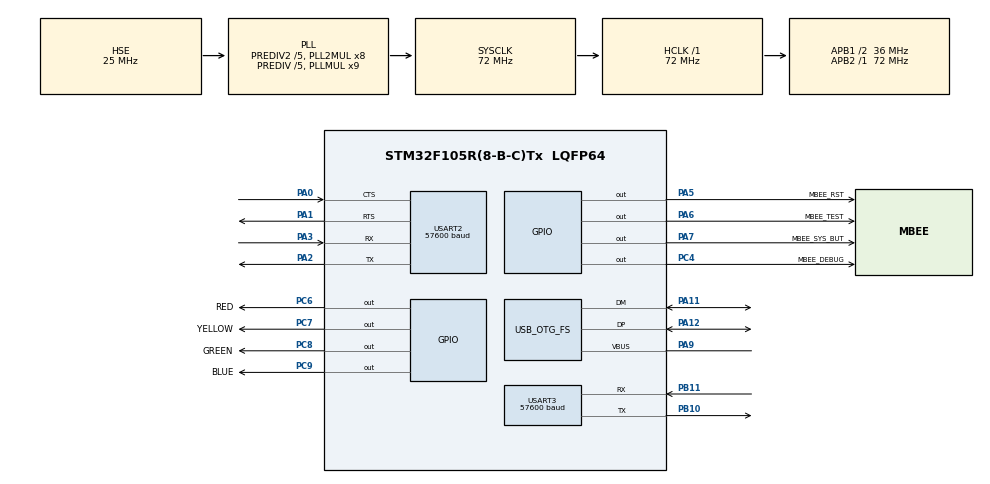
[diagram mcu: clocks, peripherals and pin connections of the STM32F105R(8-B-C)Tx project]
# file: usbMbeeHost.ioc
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Mcu.Family=STM32F1
Mcu.Name=STM32F105R(8-B-C)Tx
Mcu.Package=LQFP64
NVIC.OTG_FS_IRQn=true\:0\:0\:false\:false\:true\:true\:true
NVIC.PriorityGroup=NVIC_PRIORITYGROUP_4
NVIC.RCC_IRQn=true\:0\:0\:false\:false\:true\:true\:false
NVIC.USART2_IRQn=true\:0\:0\:true\:false\:true\:true\:true
NVIC.USART3_IRQn=true\:0\:0\:true\:false\:true\:true\:true
PA0-WKUP.Mode=CTS_RTS
PA0-WKUP.Signal=USART2_CTS
PA1.Mode=CTS_RTS
PA1.Signal=USART2_RTS
PA11.Mode=Host_Only
PA11.Signal=USB_OTG_FS_DM
PA12.Mode=Host_Only
PA12.Signal=USB_OTG_FS_DP
PA13.Mode=Serial_Wire
PA13.Signal=SYS_JTMS-SWDIO
PA14.Mode=Serial_Wire
PA14.Signal=SYS_JTCK-SWCLK
PA2.Mode=Asynchronous
PA2.Signal=USART2_TX
PA3.Mode=Asynchronous
PA3.Signal=USART2_RX
PA5.GPIO_Label=MBEE_RST
PA5.Signal=GPIO_Output
PA6.GPIO_Label=MBEE_TEST
PA6.Signal=GPIO_Output
PA7.GPIO_Label=MBEE_SYS_BUT
PA7.Signal=GPIO_Output
PA9.Mode=Activate_VBUS
PA9.Signal=USB_OTG_FS_VBUS
PB10.Mode=Asynchronous
PB10.Signal=USART3_TX
PB11.Mode=Asynchronous
PB11.Signal=USART3_RX
PC4.GPIO_Label=MBEE_DEBUG
PC4.Signal=GPIO_Output
PC6.GPIO_Label=RED
PC6.Signal=GPIO_Output
PC7.GPIO_Label=YELLOW
PC7.Signal=GPIO_Output
PC8.GPIO_Label=GREEN
PC8.Signal=GPIO_Output
PC9.GPIO_Label=BLUE
PC9.Signal=GPIO_Output
PD0-OSC_IN.Mode=HSE-External-Oscillator
PD0-OSC_IN.Signal=RCC_OSC_IN
PD1-OSC_OUT.Mode=HSE-External-Oscillator
PD1-OSC_OUT.Signal=RCC_OSC_OUT
ProjectManager.HeapSize=0x1000
ProjectManager.StackSize=0x400
ProjectManager.TargetToolchain=SW4STM32
RCC.AHBFreq_Value=72000000
RCC.APB1CLKDivider=RCC_HCLK_DIV2
RCC.APB1Freq_Value=36000000
RCC.APB1TimFreq_Value=72000000
RCC.APB2Freq_Value=72000000
RCC.APB2TimFreq_Value=72000000
RCC.HCLKFreq_Value=72000000
RCC.HSEDivPLL=RCC_HSE_PREDIV_DIV5
RCC.HSE_VALUE=25000000
RCC.PLLMUL=RCC_PLL_MUL9
RCC.PLLSourceVirtual=RCC_PLLSOURCE_HSE
RCC.Prediv1Source=RCC_PREDIV1_SOURCE_PLL2
RCC.Prediv2=RCC_HSE_PREDIV2_DIV5
RCC.SYSCLKFreq_VALUE=72000000
RCC.SYSCLKSource=RCC_SYSCLKSOURCE_PLLCLK
RCC.USBFreq_Value=48000000
USART2.BaudRate=57600
USART2.VirtualMode=VM_ASYNC
USART3.BaudRate=57600
USART3.VirtualMode=VM_ASYNC
USB_HOST.BSP.number=1
USB_HOST.USBH_DEBUG_LEVEL=3
USB_HOST.USBH_HandleTypeDef=hUsbHostFS
USB_HOST.VirtualModeFS=Cdc
USB_HOST0.BSP.STBoard=false
USB_HOST0.BSP.api=Unknown
USB_HOST0.BSP.i2caddr=0
USB_HOST0.BSP.instance=PA6
USB_HOST0.BSP.ip=GPIO
USB_HOST0.BSP.mode=Output
USB_HOST0.BSP.name=Drive_VBUS_FS
USB_HOST0.BSP.solution=PA6
USB_OTG_FS.Sof_enable=DISABLE
USB_OTG_FS.VirtualMode=Host_Only
VP_USB_HOST_VS_USB_HOST_CDC_FS.Mode=CDC_FS
board=custom

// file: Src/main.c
/* USER CODE BEGIN Header */
/**
  ******************************************************************************
  * @file           : main.c
  * @brief          : Main program body
  ******************************************************************************
  * @attention
  *
  * <h2><center>&copy; Copyright (c) 2019 STMicroelectronics.
  * All rights reserved.</center></h2>
  *
  * This software component is licensed by ST under BSD 3-Clause license,
  * the "License"; You may not use this file except in compliance with the
  * License. You may obtain a copy of the License at:
  *                        opensource.org/licenses/BSD-3-Clause
  *
  ******************************************************************************
  */
/* USER CODE END Header */

#include <usbh_def.h>
#include <usbh_cdc.h>
#include "main.h"
#include "usb_host.h"

UART_HandleTypeDef huart2;
UART_HandleTypeDef huart3;

/* USER CODE BEGIN PV */
extern USBH_HandleTypeDef hUsbHostFS;
extern ApplicationTypeDef Appli_state;
const int bufferSize = 26;                                              //размер буфера
uint8_t buffer[26] = "ZZZZZZZZZZZZZZZZZZZZZZZZZZZZ";                    //буфер для USB
uint8_t bufferUSBrecive[26] = "ZZZZZZZZZZZZZZZZZZZZZZZZZZZZ";           //буфер для USB
uint8_t imOK[4] = "imOK";
uint8_t DEBAG = 0;
int already_been = 0;                           //индикатор установки связи
/* USER CODE END PV */

void SystemClock_Config(void);
static void MX_GPIO_Init(void);
static void MX_USART2_UART_Init(void);
static void MX_USART3_UART_Init(void);
void MX_USB_HOST_Process(void);

/* USER CODE BEGIN PFP */
void Mbee_Application();
void MySetLineCoding();
/* USER CODE END PFP */

int main(void)
{

  /* MCU Configuration--------------------------------------------------------*/

  /* Reset of all peripherals, Initializes the Flash interface and the Systick. */
  HAL_Init();

  /* Configure the system clock */
  SystemClock_Config();

  /* Initialize all configured peripherals */
  MX_GPIO_Init();
  MX_USART2_UART_Init();
  MX_USART3_UART_Init();
  MX_USB_HOST_Init();
  /* USER CODE BEGIN 2 */

  HAL_UART_Receive_IT(&huart2, buffer, bufferSize);
  HAL_UART_Receive_IT(&huart3, buffer, bufferSize);

  HAL_GPIO_WritePin(BLUE_GPIO_Port, BLUE_Pin, GPIO_PIN_SET);

  HAL_UART_Transmit_IT(&huart3, imOK, 4);
  /* USER CODE END 2 */

  /* Infinite loop */
  while (1)
  {
    MX_USB_HOST_Process();

    /* USER CODE BEGIN 3 */

    Mbee_Application();

  }
  /* USER CODE END 3 */
}

void SystemClock_Config(void)
{
  RCC_OscInitTypeDef RCC_OscInitStruct = {0};
  RCC_ClkInitTypeDef RCC_ClkInitStruct = {0};
  RCC_PeriphCLKInitTypeDef PeriphClkInit = {0};

  /** Initializes the CPU, AHB and APB busses clocks
  */
  RCC_OscInitStruct.OscillatorType = RCC_OSCILLATORTYPE_HSE;
  RCC_OscInitStruct.HSEState = RCC_HSE_ON;
  RCC_OscInitStruct.HSEPredivValue = RCC_HSE_PREDIV_DIV5;
  RCC_OscInitStruct.HSIState = RCC_HSI_ON;
  RCC_OscInitStruct.Prediv1Source = RCC_PREDIV1_SOURCE_PLL2;
  RCC_OscInitStruct.PLL.PLLState = RCC_PLL_ON;
  RCC_OscInitStruct.PLL.PLLSource = RCC_PLLSOURCE_HSE;
  RCC_OscInitStruct.PLL.PLLMUL = RCC_PLL_MUL9;
  RCC_OscInitStruct.PLL2.PLL2State = RCC_PLL2_ON;
  RCC_OscInitStruct.PLL2.PLL2MUL = RCC_PLL2_MUL8;
  RCC_OscInitStruct.PLL2.HSEPrediv2Value = RCC_HSE_PREDIV2_DIV5;
  if (HAL_RCC_OscConfig(&RCC_OscInitStruct) != HAL_OK)
  {
    Error_Handler();
  }
  /** Initializes the CPU, AHB and APB busses clocks
  */
  RCC_ClkInitStruct.ClockType = RCC_CLOCKTYPE_HCLK|RCC_CLOCKTYPE_SYSCLK
                              |RCC_CLOCKTYPE_PCLK1|RCC_CLOCKTYPE_PCLK2;
  RCC_ClkInitStruct.SYSCLKSource = RCC_SYSCLKSOURCE_PLLCLK;
  RCC_ClkInitStruct.AHBCLKDivider = RCC_SYSCLK_DIV1;
  RCC_ClkInitStruct.APB1CLKDivider = RCC_HCLK_DIV2;
  RCC_ClkInitStruct.APB2CLKDivider = RCC_HCLK_DIV1;

  if (HAL_RCC_ClockConfig(&RCC_ClkInitStruct, FLASH_LATENCY_2) != HAL_OK)
  {
    Error_Handler();
  }
  PeriphClkInit.PeriphClockSelection = RCC_PERIPHCLK_USB;
  PeriphClkInit.UsbClockSelection = RCC_USBCLKSOURCE_PLL_DIV3;
  if (HAL_RCCEx_PeriphCLKConfig(&PeriphClkInit) != HAL_OK)
  {
    Error_Handler();
  }
  /** Configure the Systick interrupt time
  */
  __HAL_RCC_PLLI2S_ENABLE();
}

static void MX_USART2_UART_Init(void)
{

  huart2.Instance = USART2;
  huart2.Init.BaudRate = 57600;
  huart2.Init.WordLength = UART_WORDLENGTH_8B;
  huart2.Init.StopBits = UART_STOPBITS_1;
  huart2.Init.Parity = UART_PARITY_NONE;
  huart2.Init.Mode = UART_MODE_TX_RX;
  huart2.Init.HwFlowCtl = UART_HWCONTROL_RTS_CTS;
  huart2.Init.OverSampling = UART_OVERSAMPLING_16;
  if (HAL_UART_Init(&huart2) != HAL_OK)
  {
    Error_Handler();
  }

}

static void MX_USART3_UART_Init(void)
{

  huart3.Instance = USART3;
  huart3.Init.BaudRate = 57600;
  huart3.Init.WordLength = UART_WORDLENGTH_8B;
  huart3.Init.StopBits = UART_STOPBITS_1;
  huart3.Init.Parity = UART_PARITY_NONE;
  huart3.Init.Mode = UART_MODE_TX_RX;
  huart3.Init.HwFlowCtl = UART_HWCONTROL_NONE;
  huart3.Init.OverSampling = UART_OVERSAMPLING_16;
  if (HAL_UART_Init(&huart3) != HAL_OK)
  {
    Error_Handler();
  }

}

static void MX_GPIO_Init(void)
{
  GPIO_InitTypeDef GPIO_InitStruct = {0};

  /* GPIO Ports Clock Enable */
  __HAL_RCC_GPIOD_CLK_ENABLE();
  __HAL_RCC_GPIOA_CLK_ENABLE();
  __HAL_RCC_GPIOC_CLK_ENABLE();
  __HAL_RCC_GPIOB_CLK_ENABLE();

  /*Configure GPIO pin Output Level */
  HAL_GPIO_WritePin(GPIOA, MBEE_RST_Pin|MBEE_TEST_Pin|MBEE_SYS_BUT_Pin, GPIO_PIN_RESET);

  /*Configure GPIO pin Output Level */
  HAL_GPIO_WritePin(GPIOC, MBEE_DEBUG_Pin|RED_Pin|YELLOW_Pin|GREEN_Pin
                          |BLUE_Pin, GPIO_PIN_RESET);

  /*Configure GPIO pins : MBEE_RST_Pin MBEE_TEST_Pin MBEE_SYS_BUT_Pin */
  GPIO_InitStruct.Pin = MBEE_RST_Pin|MBEE_TEST_Pin|MBEE_SYS_BUT_Pin;
  GPIO_InitStruct.Mode = GPIO_MODE_OUTPUT_PP;
  GPIO_InitStruct.Pull = GPIO_NOPULL;
  GPIO_InitStruct.Speed = GPIO_SPEED_FREQ_LOW;
  HAL_GPIO_Init(GPIOA, &GPIO_InitStruct);

  /*Configure GPIO pins : MBEE_DEBUG_Pin RED_Pin YELLOW_Pin GREEN_Pin
                           BLUE_Pin */
  GPIO_InitStruct.Pin = MBEE_DEBUG_Pin|RED_Pin|YELLOW_Pin|GREEN_Pin
                          |BLUE_Pin;
  GPIO_InitStruct.Mode = GPIO_MODE_OUTPUT_PP;
  GPIO_InitStruct.Pull = GPIO_NOPULL;
  GPIO_InitStruct.Speed = GPIO_SPEED_FREQ_LOW;
  HAL_GPIO_Init(GPIOC, &GPIO_InitStruct);

}

/* USER CODE BEGIN 4 */
void HAL_UART_RxCpltCallback(UART_HandleTypeDef *huart)
{
    if(huart == &huart2)
    {
      USBH_CDC_Transmit(&hUsbHostFS, buffer, bufferSize);
      HAL_UART_Transmit_IT(&huart3, buffer, bufferSize);
      HAL_UART_Receive_IT(&huart2, buffer, bufferSize);
    }
    else if(huart == &huart3)
    {
      HAL_UART_Transmit_IT(&huart2, buffer, bufferSize);
      HAL_UART_Receive_IT(&huart3, buffer, bufferSize);
    }

    UNUSED(huart);
}

void MySetLineCoding()
{
  CDC_LineCodingTypeDef UsbLineFormat;
  USBH_CDC_GetLineCoding(&hUsbHostFS, &UsbLineFormat);
  HAL_Delay(500);

  UsbLineFormat.b.dwDTERate = 9600;
  UsbLineFormat.b.bCharFormat = 0;
  UsbLineFormat.b.bParityType = 0;
  UsbLineFormat.b.bDataBits = 8;

  USBH_CDC_SetLineCoding(&hUsbHostFS, &UsbLineFormat);
  HAL_Delay(500);
  USBH_CDC_GetLineCoding(&hUsbHostFS, &UsbLineFormat);
  HAL_Delay(500);
}

void Mbee_Application()
{

  if(Appli_state == APPLICATION_READY)
  {
    MySetLineCoding();
    HAL_GPIO_WritePin(GREEN_GPIO_Port, GREEN_Pin, GPIO_PIN_SET);
  }

}

void USBH_CDC_TransmitCallback(USBH_HandleTypeDef *phost)
{
  USBH_CDC_Receive(&hUsbHostFS, bufferUSBrecive, 1);
  HAL_GPIO_WritePin(RED_GPIO_Port, RED_Pin, GPIO_PIN_SET);
}

void USBH_CDC_ReceiveCallback(USBH_HandleTypeDef *phost)
{
  HAL_UART_Transmit_IT(&huart2, bufferUSBrecive, bufferSize);
  HAL_UART_Transmit_IT(&huart3, bufferUSBrecive, bufferSize);
  HAL_GPIO_WritePin(YELLOW_GPIO_Port, YELLOW_Pin, GPIO_PIN_SET);
}
/* USER CODE END 4 */

void Error_Handler(void)
{
}

/************************ (C) COPYRIGHT STMicroelectronics *****END OF FILE****/
